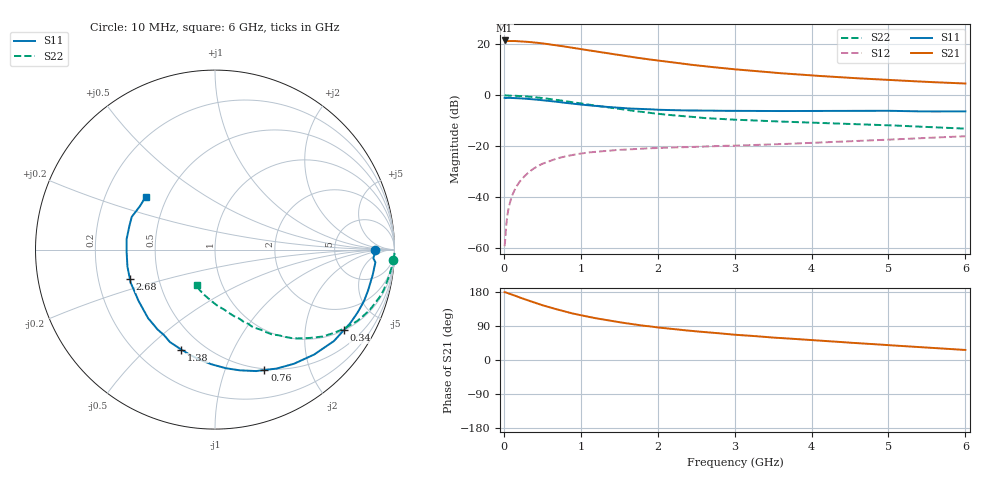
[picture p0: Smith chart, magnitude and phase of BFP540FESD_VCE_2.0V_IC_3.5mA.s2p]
! Infineon Technologies  Discrete & RF Semiconductors
! BFP540FESD
! VCE =  2.0 V,  IC =  3.5 mA
! Common Emitter S-Parameters:  Nov 2015
# GHz  S  MA  R  50
!  f  S11  S21  S12  S22
! GHz  MAG  ANG  MAG  ANG  MAG  ANG  MAG  ANG
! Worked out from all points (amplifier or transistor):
!   210 points, 10 MHz to 6 GHz, reference 50 ohm
!   highest |S21| = 21.5 dB at 10 MHz (marker M1)
!   |S21| within 3 dB of that: start of sweep to 918.9 MHz
!   unconditionally stable (mu >= 1): 2.99 GHz to end of sweep
!   at 185 MHz: K = 0.06, MSG = 28.0 dB, |S12| = -34.8 dB
!   at 1.52 GHz: K = 0.51, MSG = 18.5 dB, |S12| = -21.4 dB
!   at 6 GHz: K = 1.39, MAG = 6.6 dB, |S12| = -16.0 dB
!   S11 on the Smith chart (normalised r, x): 10 MHz: 18, -1; 340 MHz: 1.00, -3.19; 760 MHz: 0.49, -1.38; 1.38 GHz: 0.38, -0.65; 2.68 GHz: 0.34, -0.15; 6 GHz: 0.38, +0.29
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0.01  0.8942 -0.2  11.95 179.0  0.0011 83.5  0.9938 -3.4
0.02  0.8838 -3.2  11.58 178.7  0.0016 96.5  1 -1.3
0.05  0.8965 -4.5  11.67 176.6  0.0049 91.2  0.991 -2.8
0.1  0.8898 -9.2  11.63 172.9  0.01 84.3  0.989 -5.7
0.15  0.8828 -14.9  11.65 169.4  0.0148 81.2  0.982 -8.4
0.2  0.8784 -19.0  11.49 165.3  0.0197 79.3  0.9729 -11.2
0.34  0.8463 -32.1  11.09 155.6  0.0323 73.5  0.9395 -18.6
0.5  0.8045 -46.6  10.51 144.7  0.0454 66.5  0.8873 -26.6
0.6  0.7735 -55.3  9.98 138.4  0.0518 61.5  0.8484 -30.9
0.76  0.7253 -67.7  9.227 129.8  0.0615 55.8  0.7855 -37.3
0.9  0.6867 -78.4  8.55 122.5  0.068 51.4  0.7314 -42.2
1.02  0.6575 -86.3  8.001 117.4  0.0729 48.3  0.6885 -45.9
1.2  0.6171 -98.6  7.223 110.0  0.078 43.9  0.6266 -51.0
1.38  0.5876 -108.6  6.569 103.7  0.083 41.1  0.5733 -55.6
1.7  0.5479 -125.8  5.575 93.7  0.0885 36.6  0.4919 -62.8
2.02  0.521 -139.9  4.788 85.5  0.0929 34.1  0.4326 -68.4
2.4  0.5049 -153.3  4.042 77.4  0.0967 32.0  0.3855 -74.1
2.68  0.5019 -160.7  3.634 72.5  0.1 31.3  0.354 -78.6
3.1  0.4949 -171.0  3.155 65.4  0.1043 30.8  0.3288 -83.4
4.1  0.495 171.7  2.407 51.2  0.1185 30.5  0.288 -93.8
5.1  0.4946 156.9  1.974 37.9  0.1375 28.9  0.2554 -104.6
6  0.4859 142.5  1.709 26.5  0.1577 26.4  0.2224 -116.9
